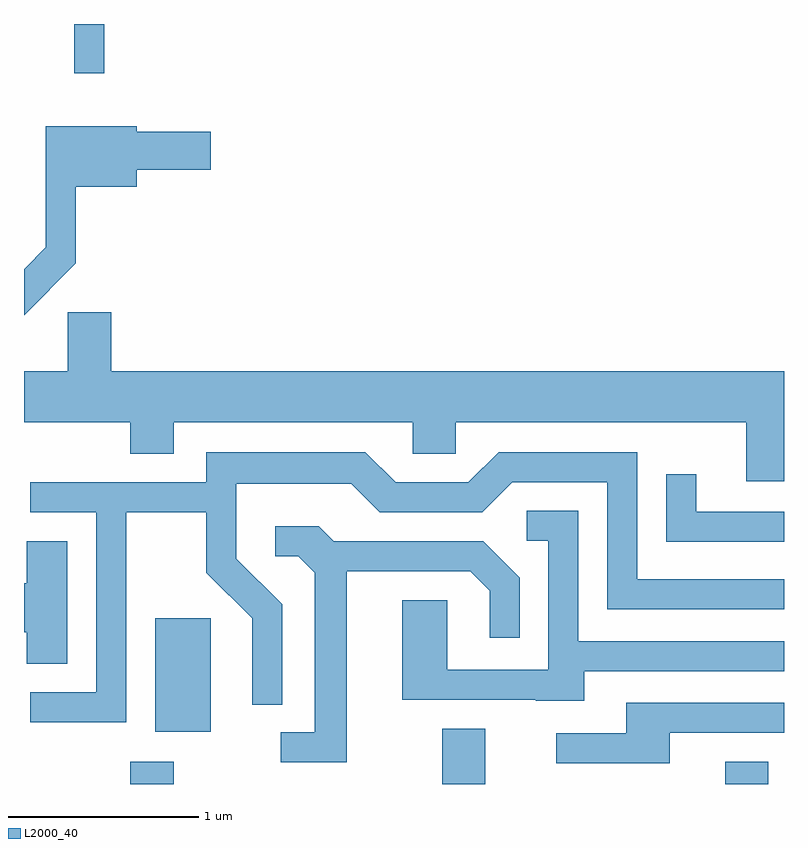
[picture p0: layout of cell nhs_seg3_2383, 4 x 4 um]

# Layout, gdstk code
import gdstk
lib = gdstk.Library(unit=1e-6, precision=1e-09)
def R(c, l, rs):  # rectangles x0, y0, x1, y1
    for r in rs: c.add(gdstk.rectangle(r[:2], r[2:], *l))
def P(c, l, *ps):  # polygons
    for p in ps: c.add(gdstk.Polygon(p, *l))
L2000_40 = (2000, 40)

nhs_seg3_2383 = lib.new_cell('nhs_seg3_2383')
R(nhs_seg3_2383, L2000_40, [(256.171,1121.892,256.399,1122.009), (257.811,1121.892,258.039,1122.184), (259.301,1121.892,259.529,1122.009), (256.301,1122.166,256.594,1122.764), (255.876,1125.633,256.034,1125.892)])
P(nhs_seg3_2383, L2000_40, [(255.884,1124.634),(255.884,1125.036),(256.204,1125.036),(256.204,1125.126),(256.594,1125.126),(256.594,1125.324),(256.204,1125.324),(256.204,1125.354),(255.726,1125.354),(255.726,1124.717),(255.611,1124.601),(255.611,1124.36)],
  [(259.611,1124.064),(256.069,1124.064),(256.069,1124.374),(255.841,1124.374),(255.841,1124.064),(255.611,1124.064),(255.611,1123.796),(256.171,1123.796),(256.171,1123.631),(256.399,1123.631),(256.399,1123.796),(257.656,1123.796),(257.656,1123.631),(257.884,1123.631),(257.884,1123.796),(259.411,1123.796),(259.411,1123.486),(259.611,1123.486)],
  [(256.149,1123.321),(256.571,1123.321),(256.571,1123.004),(256.811,1122.764),(256.811,1122.308),(256.969,1122.308),(256.969,1122.837),(256.729,1123.077),(256.729,1123.471),(257.334,1123.471),(257.484,1123.321),(258.022,1123.321),(258.182,1123.481),(258.681,1123.481),(258.681,1122.811),(259.611,1122.811),(259.611,1122.969),(258.839,1122.969),(258.839,1123.639),(258.109,1123.639),(257.949,1123.479),(257.567,1123.479),(257.407,1123.639),(256.571,1123.639),(256.571,1123.479),(255.643,1123.479),(255.643,1123.321),(255.991,1123.321),(255.991,1122.374),(255.643,1122.374),(255.643,1122.216),(256.149,1122.216)],
  [(259.611,1123.324),(259.149,1123.324),(259.149,1123.523),(258.991,1123.523),(258.991,1123.166),(259.611,1123.166)],
  [(258.559,1122.486),(259.611,1122.486),(259.611,1122.644),(258.529,1122.644),(258.529,1123.329),(258.258,1123.329),(258.258,1123.171),(258.371,1123.171),(258.371,1122.494),(257.839,1122.494),(257.839,1122.859),(257.601,1122.859),(257.601,1122.336),(258.305,1122.336),(258.305,1122.331),(258.559,1122.331)],
  [(257.309,1123.011),(257.959,1123.011),(258.061,1122.909),(258.061,1122.663),(258.219,1122.663),(258.219,1122.977),(258.027,1123.169),(257.242,1123.169),(257.162,1123.249),(256.933,1123.249),(256.933,1123.091),(257.054,1123.091),(257.141,1123.004),(257.141,1122.164),(256.962,1122.164),(256.962,1122.006),(257.309,1122.006)],
  [(255.839,1123.169),(255.626,1123.169),(255.626,1122.949),(255.611,1122.949),(255.611,1122.691),(255.626,1122.691),(255.626,1122.526),(255.839,1122.526)],
  [(259.009,1122.161),(259.611,1122.161),(259.611,1122.319),(258.781,1122.319),(258.781,1122.159),(258.413,1122.159),(258.413,1122.001),(259.009,1122.001)])

lib.write_gds('nhs_seg3_2383.gds')
